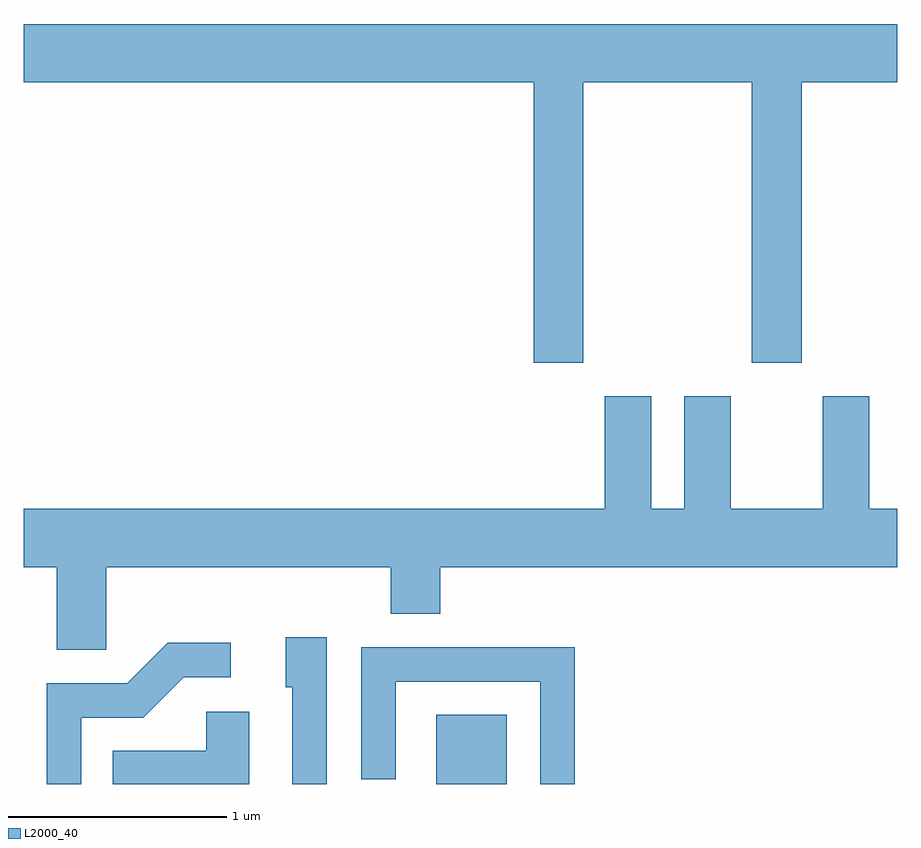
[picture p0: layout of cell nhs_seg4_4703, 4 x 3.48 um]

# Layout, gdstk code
import gdstk
lib = gdstk.Library(unit=1e-6, precision=1e-09)
def R(c, l, rs):  # rectangles x0, y0, x1, y1
    for r in rs: c.add(gdstk.rectangle(r[:2], r[2:], *l))
def P(c, l, *ps):  # polygons
    for p in ps: c.add(gdstk.Polygon(p, *l))
L2000_40 = (2000, 40)

nhs_seg4_4703 = lib.new_cell('nhs_seg4_4703')
R(nhs_seg4_4703, L2000_40, [(325.501,1275.982,325.824,1276.299)])
P(nhs_seg4_4703, L2000_40, [(326.174,1279.196),(326.946,1279.196),(326.946,1277.911),(327.174,1277.911),(327.174,1279.196),(327.611,1279.196),(327.611,1279.464),(323.611,1279.464),(323.611,1279.196),(325.946,1279.196),(325.946,1277.911),(326.174,1277.911)],
  [(323.989,1276.976),(325.291,1276.976),(325.291,1276.761),(325.519,1276.761),(325.519,1276.976),(327.611,1276.976),(327.611,1277.244),(327.484,1277.244),(327.484,1277.759),(327.271,1277.759),(327.271,1277.244),(326.849,1277.244),(326.849,1277.759),(326.636,1277.759),(326.636,1277.244),(326.484,1277.244),(326.484,1277.759),(326.271,1277.759),(326.271,1277.244),(323.611,1277.244),(323.611,1276.976),(323.761,1276.976),(323.761,1276.596),(323.989,1276.596)],
  [(324.999,1276.654),(324.811,1276.654),(324.811,1276.426),(324.841,1276.426),(324.841,1275.982),(324.999,1275.982)],
  [(323.874,1276.286),(324.157,1276.286),(324.342,1276.471),(324.558,1276.471),(324.558,1276.629),(324.269,1276.629),(324.084,1276.444),(323.716,1276.444),(323.716,1275.982),(323.874,1275.982)],
  [(326.134,1276.609),(325.156,1276.609),(325.156,1276.003),(325.314,1276.003),(325.314,1276.451),(325.976,1276.451),(325.976,1275.982),(326.134,1275.982)],
  [(324.644,1276.314),(324.446,1276.314),(324.446,1276.134),(324.018,1276.134),(324.018,1275.982),(324.644,1275.982)])

lib.write_gds('nhs_seg4_4703.gds')
